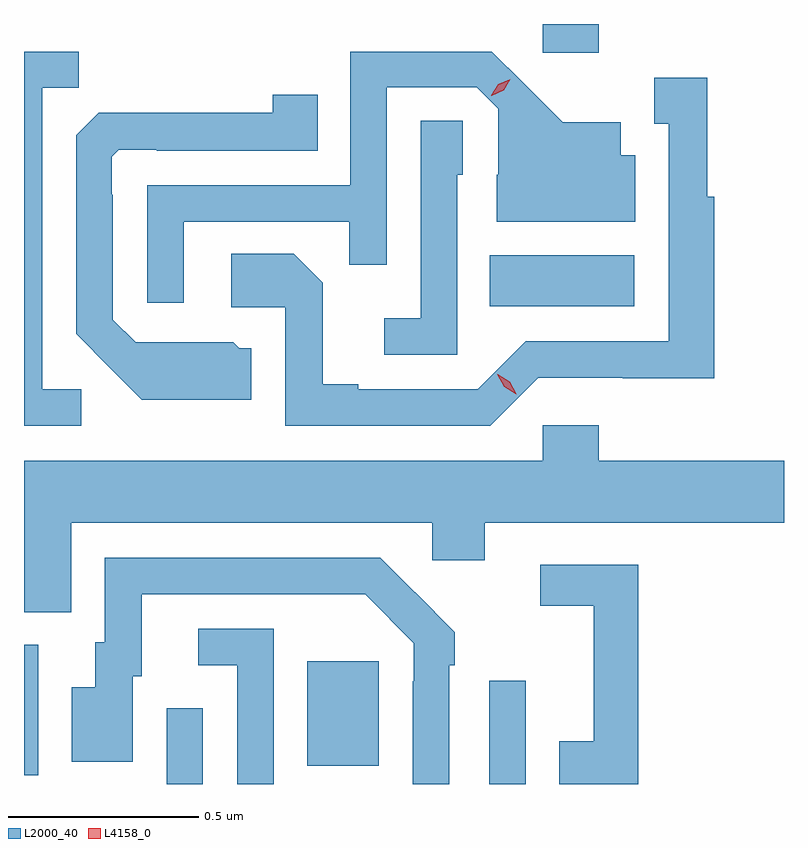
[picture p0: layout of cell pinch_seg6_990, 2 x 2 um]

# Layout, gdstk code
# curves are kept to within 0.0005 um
import gdstk
lib = gdstk.Library(unit=1e-6, precision=1e-09)
def R(c, l, rs):  # rectangles x0, y0, x1, y1
    for r in rs: c.add(gdstk.rectangle(r[:2], r[2:], *l))
def P(c, l, *ps):  # polygons
    for p in ps: c.add(gdstk.Polygon(p, *l))
L2000_40 = (2000, 40)
L4158_0 = (4158, 0)

pinch_seg6_990 = lib.new_cell('pinch_seg6_990')
R(pinch_seg6_990, L2000_40, [(343.2,935.993,343.296,936.193), (344.049,935.993,344.145,936.265), (342.825,936.016,342.862,936.36), (343.571,936.041,343.759,936.316), (344.05,937.25,344.431,937.384), (344.19,937.917,344.337,937.993)])
P(pinch_seg6_990, L2000_40, [(342.976,937.032),(342.873,937.032),(342.873,937.825),(342.969,937.825),(342.969,937.92),(342.825,937.92),(342.825,936.936),(342.976,936.936)],
  [(343.245,937.473),(343.681,937.473),(343.681,937.36),(343.779,937.36),(343.779,937.827),(344.016,937.827),(344.073,937.77),(344.073,937.596),(344.069,937.596),(344.069,937.472),(344.434,937.472),(344.434,937.648),(344.395,937.648),(344.395,937.735),(344.243,937.735),(344.056,937.92),(343.683,937.92),(343.683,937.569),(343.149,937.569),(343.149,937.26),(343.245,937.26)],
  [(344.178,937.062),(344.4,937.062),(344.4,937.061),(344.641,937.061),(344.641,937.539),(344.623,937.539),(344.623,937.852),(344.483,937.852),(344.483,937.731),(344.522,937.731),(344.522,937.158),(344.145,937.158),(344.019,937.032),(343.705,937.032),(343.705,937.045),(343.611,937.045),(343.611,937.312),(343.535,937.388),(343.371,937.388),(343.371,937.248),(343.512,937.248),(343.512,936.936),(344.052,936.936)],
  [(343.423,937.14),(343.392,937.14),(343.376,937.156),(343.242,937.156),(343.242,937.155),(343.119,937.155),(343.059,937.215),(343.059,937.544),(343.056,937.544),(343.056,937.644),(343.074,937.662),(343.174,937.662),(343.174,937.659),(343.598,937.659),(343.598,937.807),(343.48,937.807),(343.48,937.76),(343.123,937.76),(343.123,937.759),(343.022,937.759),(342.963,937.7),(342.963,937.178),(343.135,937.004),(343.423,937.004)],
  [(343.965,937.596),(343.98,937.596),(343.98,937.739),(343.869,937.739),(343.869,937.219),(343.773,937.219),(343.773,937.122),(343.965,937.122)],
  [(342.949,936.68),(343.899,936.68),(343.899,936.582),(344.038,936.582),(344.038,936.68),(344.825,936.68),(344.825,936.844),(344.337,936.844),(344.337,936.937),(344.19,936.937),(344.19,936.844),(342.825,936.844),(342.825,936.445),(342.949,936.445)],
  [(343.944,936.305),(343.959,936.305),(343.959,936.393),(343.854,936.498),(343.853,936.497),(343.762,936.588),(343.038,936.588),(343.038,936.366),(343.013,936.366),(343.013,936.247),(342.95,936.247),(342.95,936.051),(343.111,936.051),(343.111,936.276),(343.135,936.276),(343.135,936.492),(343.723,936.492),(343.851,936.363),(343.851,936.263),(343.848,936.263),(343.848,935.993),(343.944,935.993)],
  [(344.441,936.57),(344.184,936.57),(344.184,936.462),(344.324,936.462),(344.324,936.106),(344.234,936.106),(344.234,935.993),(344.441,935.993)],
  [(343.482,936.402),(343.284,936.402),(343.284,936.306),(343.386,936.306),(343.386,935.993),(343.482,935.993)])
P(pinch_seg6_990, L4158_0, [(344.055,937.804),(344.055,937.805),(344.073,937.834),(344.104,937.848),(344.105,937.848),(344.105,937.848),(344.087,937.819),(344.056,937.804)],
  [(344.12,937.019),(344.089,937.038),(344.071,937.071),(344.071,937.071),(344.072,937.071),(344.103,937.052),(344.121,937.02),(344.121,937.019)])

lib.write_gds('pinch_seg6_990.gds')
